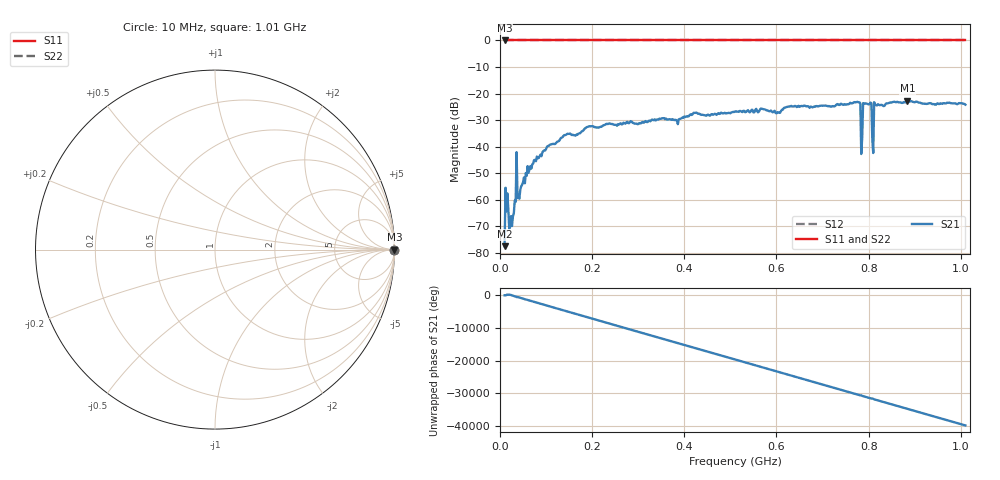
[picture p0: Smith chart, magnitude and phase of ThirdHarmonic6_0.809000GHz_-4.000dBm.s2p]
! 8/16/2025 2:56:06 AM
! C:\ANRITSUVNA\TEMP\TEMP.S2P
! CHANNEL.1
! TR.MEASUREMENT
! RAW.DATA
! RF.CORRECTION.OFF
! AVERAGING.OFF
! IF.BANDWIDTH: 5KHZ
! SWEEPTYPE:  FREQ.SWEEP(Linear)
! Reference Plane Port Info
! PORT:  PORT1  PORT2
! DISTANCE:  0  m  0  m
! TIME:  0  s  0  s
! PHASE.OFFSET:  0  deg.  0  deg.
! LOSS:  0  dB  0  dB
! REF.LOSS:  0  dB  0  dB
! REF.FREQ:  0  Hz  0  Hz
! Power Info
! POWER:  -20  dBm  -20  dBm
! EFF.POWER:  -20  dBm  -20  dBm
! SOURCE.ATTEN:  0  dB  0  dB
! TEST.ATTEN:  0  dB  0  dB
# GHZ S RI R 50.0
! FREQ.GHZ  S11RE  S11IM  S21RE  S21IM  S12RE  S12IM  S22RE  S22IM
!; PortSelection: Port_12
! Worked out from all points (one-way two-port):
!   501 points, 10 MHz to 1.01 GHz, reference 50 ohm
!   highest |S21| = -22.67 dB at 884 MHz (marker M1); lowest = -77.5 dB at 10 MHz (marker M2)
!   lowest |S11| = 0.0 dB at 10 MHz (marker M3)
!   |S11| at or under -10 dB: nowhere
!   |S22| runs from 0.0 to 0.0 dB; largest |S21 - S12| = 1.1
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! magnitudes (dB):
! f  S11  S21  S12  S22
! 10 MHz  0.0  -77.5  0.0  0.0
! 16 MHz  0.0  -57.6  0.0  0.0
! 24 MHz  0.0  -66.2  0.0  0.0
! 36 MHz  0.0  -42.1  0.0  0.0
! 42 MHz  0.0  -59.7  0.0  0.0
! 76 MHz  0.0  -45.0  0.0  0.0
! 142 MHz  0.0  -35.7  0.0  0.0
! 178 MHz  0.0  -34.2  0.0  0.0
! 344 MHz  0.0  -29.8  0.0  0.0
! 510 MHz  0.0  -26.8  0.0  0.0
! 678 MHz  0.0  -25.2  0.0  0.0
! 778 MHz  0.0  -23.3  0.0  0.0
! 782 MHz  0.0  -23.7  0.0  0.0
! 788 MHz  0.0  -23.6  0.0  0.0
! 792 MHz  0.0  -23.8  0.0  0.0
! 802 MHz  0.0  -24.0  0.0  0.0
! 806 MHz  0.0  -23.7  0.0  0.0
! 812 MHz  0.0  -23.3  0.0  0.0
! 816 MHz  0.0  -24.3  0.0  0.0
! 844 MHz  0.0  -23.6  0.0  0.0
! 884 MHz  0.0  -22.7  0.0  0.0
! 1.01 GHz  0.0  -24.2  0.0  0.0
